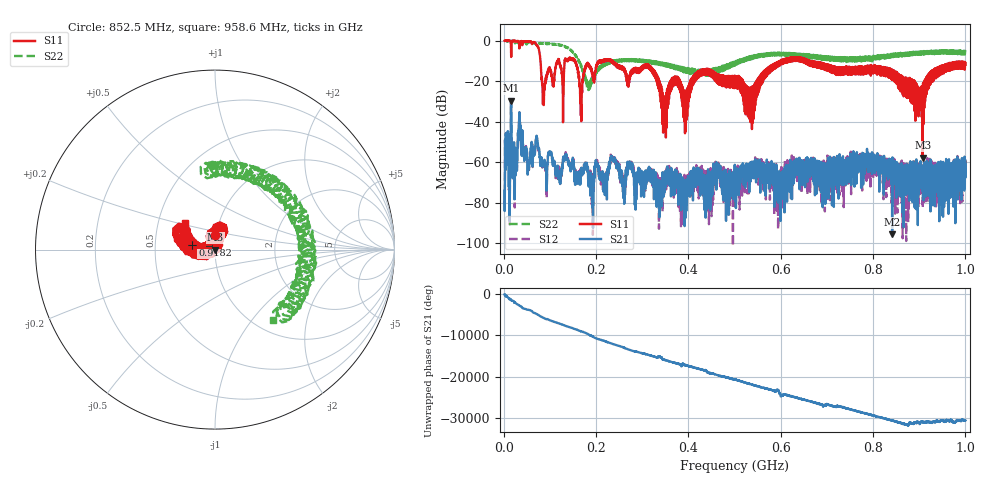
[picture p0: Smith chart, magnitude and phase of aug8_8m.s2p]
!Keysight Technologies N9923A: A.12.45
!Date: Friday, 08 August 2025 17:31:07
!Timezone: (UTC+08:00) Kuala Lumpur, Singapore
!Model: N9923A
!Serial: MY61181427
!GPS Latitude:
!GPS Longitude:
!GPS TimeStamp: 0001-01-01 00:00:00Z
!GPS Seconds Since Last Read: 0
!CHECKSUM:1361444040
!Correction: S11(ON U)S21(ON U)S12(ON U)S22(ON U)
!S2P File: Measurements:S11,S21,S12,S22:
# Hz S DB R 50
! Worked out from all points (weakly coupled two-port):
!   4001 points, 2 MHz to 1 GHz, reference 50 ohm
!   highest |S21| = -29.64 dB at 15.97 MHz (marker M1); lowest = -95.5 dB at 841.3 MHz (marker M2)
!   lowest |S11| = -57.8 dB at 907.4 MHz (marker M3), VSWR 1.00, Z = 50.1 + j0.0436 ohm
!   |S11| at or under -10 dB: 155 MHz to 206 MHz (51.07 MHz wide, 28.3 % of centre); 234.5 MHz to 599.4 MHz (364.9 MHz wide, 87.5 % of centre); 662.2 MHz to end of sweep (the widest 3 of 63)
!   |S22| runs from -24.4 to 0.0 dB; largest |S21 - S12| = 0.0019
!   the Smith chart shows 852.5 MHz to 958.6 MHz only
!   S11 on the Smith chart (normalised r, x): 852.5 MHz: 0.99, +0.17; 918.2 MHz: 0.78, +0.04; 958.6 MHz: 0.69, +0.21
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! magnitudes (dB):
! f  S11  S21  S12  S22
! 2 MHz  -0.1  -74.0  -79.5  0.0
! 15.97 MHz  -6.4  -29.6  -29.8  -0.7
! 35.68 MHz  -0.7  -45.1  -45.2  -0.8
! 52.9 MHz  -0.3  -61.6  -62.1  -1.1
! 72.11 MHz  -2.3  -48.0  -48.2  -1.1
! 86.83 MHz  -31.8  -60.2  -60.2  -1.7
! 145.2 MHz  -8.6  -62.8  -62.7  -4.9
! 168.4 MHz  -35.3  -63.9  -64.4  -13.0
! 222.6 MHz  -9.2  -70.0  -65.1  -11.1
! 236.3 MHz  -10.6  -59.2  -58.3  -9.9
! 334.8 MHz  -19.5  -72.1  -69.6  -11.9
! 348.3 MHz  -36.9  -68.0  -68.7  -12.6
! 370.5 MHz  -17.7  -65.9  -64.6  -13.1
! 501 MHz  -17.4  -73.8  -81.9  -12.3
! 667.4 MHz  -10.6  -59.9  -68.9  -7.6
! 833.8 MHz  -17.5  -63.5  -66.4  -7.5
! 841.3 MHz  -15.5  -95.5  -61.5  -7.3
! 852.5 MHz  -21.6  -62.7  -67.8  -6.5
! 907.4 MHz  -57.8  -67.5  -76.7  -6.6
! 918.2 MHz  -17.8  -60.5  -69.1  -5.8
! 958.6 MHz  -13.0  -75.5  -60.4  -5.8
! 1 GHz  -11.9  -59.2  -62.0  -6.0
